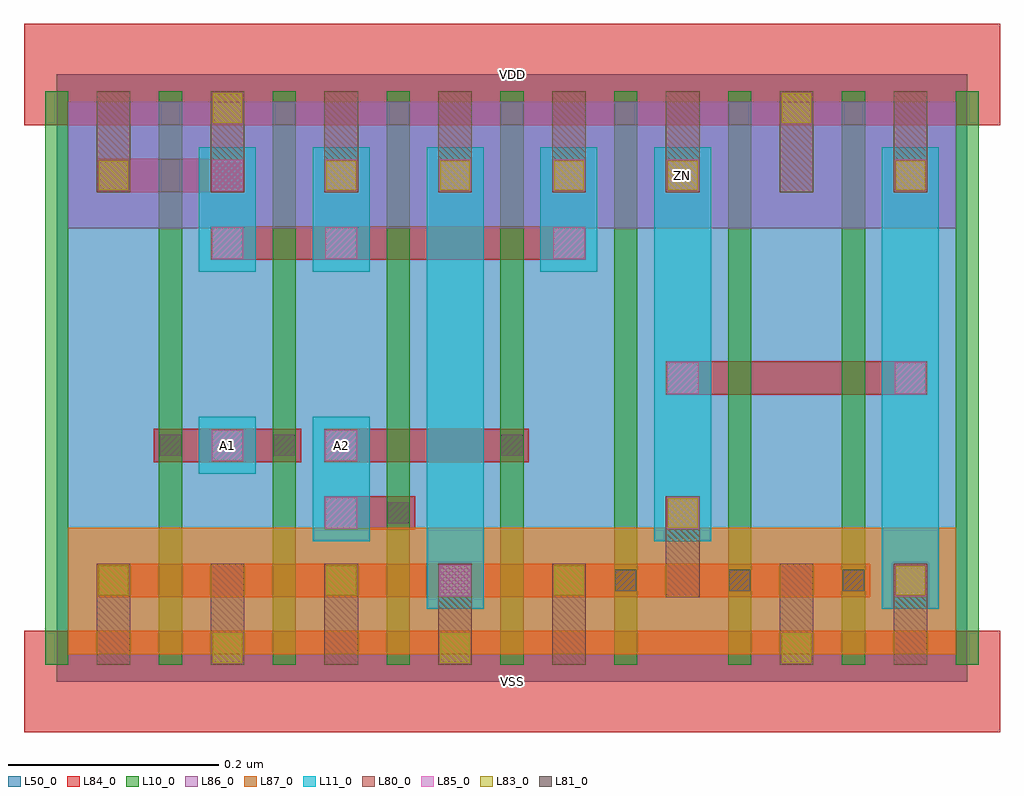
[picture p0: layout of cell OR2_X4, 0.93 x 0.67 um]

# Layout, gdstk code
import gdstk
lib = gdstk.Library(unit=1e-6, precision=1e-09)
def R(c, l, rs):  # rectangles x0, y0, x1, y1
    for r in rs: c.add(gdstk.rectangle(r[:2], r[2:], *l))
def A(c, l, x, y, w, h, nx, ny, dx, dy):  # array of equal rectangles
    R(c, l, [(x+i*dx, y+j*dy, x+i*dx+w, y+j*dy+h) for i in range(nx) for j in range(ny)])
L10_0 = (10, 0)
L11_0 = (11, 0)
L50_0 = (50, 0)
L80_0 = (80, 0)
L81_0 = (81, 0)
L83_0 = (83, 0)
L84_0 = (84, 0)
L85_0 = (85, 0)
L86_0 = (86, 0)
L87_0 = (87, 0)

or2_x4 = lib.new_cell('OR2_X4')
A(or2_x4, L10_0, -0.011, 0.016, 0.022, 0.544, 9, 1, 0.108, 0)
R(or2_x4, L11_0, [(0.351,0.069,0.405,0.507), (0.783,0.069,0.837,0.507), (0.243,0.133,0.297,0.251), (0.567,0.133,0.621,0.507), (0.135,0.197,0.189,0.251), (0.135,0.389,0.189,0.507), (0.243,0.389,0.297,0.507), (0.459,0.389,0.513,0.507)])
R(or2_x4, L50_0, [(0,0,0.864,0.576)])
A(or2_x4, L80_0, 0.038, 0.016, 0.032, 0.096, 5, 1, 0.108, 0)
A(or2_x4, L80_0, 0.038, 0.464, 0.032, 0.096, 8, 1, 0.108, 0)
R(or2_x4, L80_0, [(0.686,0.016,0.718,0.112), (0.794,0.016,0.826,0.112), (0.578,0.08,0.61,0.176)])
A(or2_x4, L81_0, 0.53, 0.086, 0.02, 0.02, 3, 1, 0.108, 0)
R(or2_x4, L81_0, [(0.314,0.15,0.334,0.17), (0.098,0.214,0.118,0.234), (0.206,0.214,0.226,0.234), (0.422,0.214,0.442,0.234)])
A(or2_x4, L83_0, 0.04, 0.082, 0.028, 0.028, 3, 1, 0.216, 0)
A(or2_x4, L83_0, 0.256, 0.466, 0.028, 0.028, 4, 1, 0.108, 0)
R(or2_x4, L83_0, [(0.148,0.018,0.176,0.046), (0.364,0.018,0.392,0.046), (0.688,0.018,0.716,0.046), (0.796,0.082,0.824,0.11), (0.58,0.146,0.608,0.174), (0.04,0.466,0.068,0.494), (0.796,0.466,0.824,0.494), (0.148,0.53,0.176,0.558), (0.688,0.53,0.716,0.558)])
A(or2_x4, L84_0, 0.254, 0.464, 0.032, 0.032, 4, 1, 0.108, 0)
R(or2_x4, L84_0, [(-0.031,-0.048,0.895,0.048), (0.038,0.08,0.772,0.112), (0.794,0.08,0.826,0.112), (0.254,0.144,0.34,0.176), (0.578,0.144,0.61,0.176), (0.092,0.208,0.232,0.24), (0.254,0.208,0.448,0.24), (0.578,0.272,0.826,0.304), (0.146,0.4,0.502,0.432), (0.038,0.464,0.178,0.496), (0.794,0.464,0.826,0.496), (-0.031,0.528,0.895,0.624)])
A(or2_x4, L85_0, 0.795, 0.081, 0.03, 0.03, 1, 3, 0, 0.192)
A(or2_x4, L85_0, 0.147, 0.465, 0.03, 0.03, 5, 1, 0.108, 0)
R(or2_x4, L85_0, [(0.363,0.081,0.393,0.111), (0.255,0.145,0.285,0.175), (0.579,0.145,0.609,0.175), (0.147,0.209,0.177,0.239), (0.255,0.209,0.285,0.239), (0.579,0.273,0.609,0.303), (0.147,0.401,0.177,0.431), (0.255,0.401,0.285,0.431), (0.471,0.401,0.501,0.431)])
R(or2_x4, L86_0, [(0.011,0.43,0.853,0.55)])
R(or2_x4, L87_0, [(0.011,0.026,0.853,0.146)])
or2_x4.add(gdstk.Label('VDD', (0.432,0.576), layer=88, texttype=0))
or2_x4.add(gdstk.Label('VSS', (0.432,0), layer=88, texttype=0))
or2_x4.add(gdstk.Label('ZN', (0.594,0.48), layer=31, texttype=0))
or2_x4.add(gdstk.Label('A2', (0.27,0.224), layer=31, texttype=0))
or2_x4.add(gdstk.Label('A1', (0.162,0.224), layer=31, texttype=0))

lib.write_gds('OR2_X4.gds')
